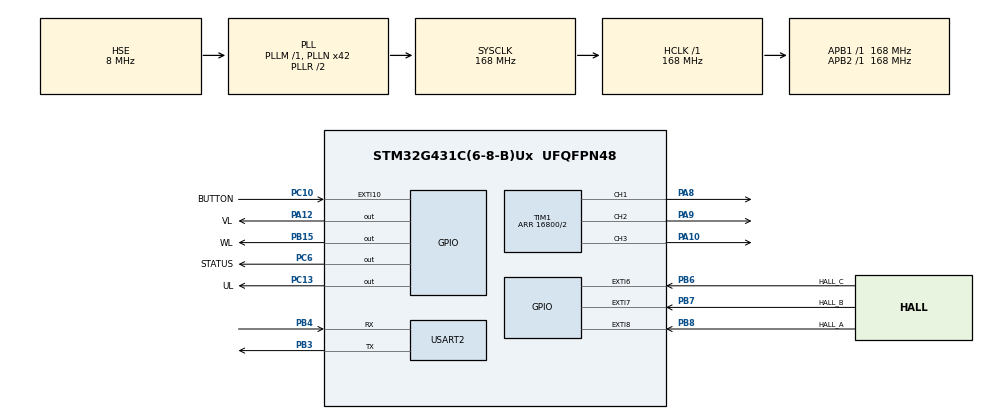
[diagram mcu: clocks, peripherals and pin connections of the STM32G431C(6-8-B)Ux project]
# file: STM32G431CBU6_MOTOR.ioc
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Mcu.Family=STM32G4
Mcu.Name=STM32G431C(6-8-B)Ux
Mcu.Package=UFQFPN48
NVIC.EXTI15_10_IRQn=true\:5\:0\:true\:false\:true\:true\:true\:true
NVIC.EXTI9_5_IRQn=true\:5\:0\:true\:false\:true\:true\:true\:true
NVIC.PriorityGroup=NVIC_PRIORITYGROUP_4
NVIC.USART2_IRQn=true\:0\:0\:false\:false\:true\:true\:true\:true
PA0.GPIO_Label=VBUS_ADC
PA0.Signal=ADC1_IN1
PA10.Signal=S_TIM1_CH3
PA12.GPIO_Label=VL
PA12.Signal=GPIO_Output
PA13.Mode=Serial_Wire
PA13.Signal=SYS_JTMS-SWDIO
PA14.Mode=Serial_Wire
PA14.Signal=SYS_JTCK-SWCLK
PA8.Signal=S_TIM1_CH1
PA9.Signal=S_TIM1_CH2
PB15.GPIO_Label=WL
PB15.Signal=GPIO_Output
PB3.Mode=Asynchronous
PB3.Signal=USART2_TX
PB4.Mode=Asynchronous
PB4.Signal=USART2_RX
PB6.GPIO_Label=HALL_C
PB6.GPIO_ModeDefaultEXTI=GPIO_MODE_IT_RISING_FALLING
PB6.Signal=GPXTI6
PB7.GPIO_Label=HALL_B
PB7.GPIO_ModeDefaultEXTI=GPIO_MODE_IT_RISING_FALLING
PB7.Signal=GPXTI7
PB8-BOOT0.GPIO_Label=HALL_A
PB8-BOOT0.GPIO_ModeDefaultEXTI=GPIO_MODE_IT_RISING_FALLING
PB8-BOOT0.Signal=GPXTI8
PC10.GPIO_Label=BUTTON
PC10.GPIO_ModeDefaultEXTI=GPIO_MODE_IT_FALLING
PC10.Signal=GPXTI10
PC13.GPIO_Label=UL
PC13.Signal=GPIO_Output
PC6.GPIO_Label=STATUS
PC6.Signal=GPIO_Output
PF0-OSC_IN.Mode=HSE-External-Oscillator
PF0-OSC_IN.Signal=RCC_OSC_IN
PF1-OSC_OUT.Mode=HSE-External-Oscillator
PF1-OSC_OUT.Signal=RCC_OSC_OUT
ProjectManager.HeapSize=0x200
ProjectManager.StackSize=0x400
ProjectManager.TargetToolchain=MDK-ARM V5.27
RCC.ADC12Freq_Value=168000000
RCC.AHBFreq_Value=168000000
RCC.APB1Freq_Value=168000000
RCC.APB1TimFreq_Value=168000000
RCC.APB2Freq_Value=168000000
RCC.APB2TimFreq_Value=168000000
RCC.CortexFreq_Value=168000000
RCC.EXTERNAL_CLOCK_VALUE=12288000
RCC.HCLKFreq_Value=168000000
RCC.HSE_VALUE=8000000
RCC.HSI48_VALUE=48000000
RCC.HSI_VALUE=16000000
RCC.LSE_VALUE=32768
RCC.PLLN=42
RCC.PLLSourceVirtual=RCC_PLLSOURCE_HSE
RCC.SYSCLKFreq_VALUE=168000000
RCC.SYSCLKSource=RCC_SYSCLKSOURCE_PLLCLK
RCC.USBFreq_Value=168000000
RCC.VCOOutputFreq_Value=336000000
SH.S_TIM1_CH1.0=TIM1_CH1,PWM Generation1 CH1
SH.S_TIM1_CH2.0=TIM1_CH2,PWM Generation2 CH2
SH.S_TIM1_CH3.0=TIM1_CH3,PWM Generation3 CH3
TIM1.AutoReloadPreload=TIM_AUTORELOAD_PRELOAD_ENABLE
TIM1.AutomaticOutput=TIM_AUTOMATICOUTPUT_ENABLE
TIM1.Channel-PWM\ Generation1\ CH1=TIM_CHANNEL_1
TIM1.Channel-PWM\ Generation2\ CH2=TIM_CHANNEL_2
TIM1.Channel-PWM\ Generation3\ CH3=TIM_CHANNEL_3
TIM1.CounterMode=TIM_COUNTERMODE_CENTERALIGNED1
TIM1.LockLevel=TIM_LOCKLEVEL_1
TIM1.OCMode_PWM-PWM\ Generation1\ CH1=TIM_OCMODE_PWM1
TIM1.OCMode_PWM-PWM\ Generation2\ CH2=TIM_OCMODE_PWM1
TIM1.OCMode_PWM-PWM\ Generation3\ CH3=TIM_OCMODE_PWM1
TIM1.OffStateIDLEMode=TIM_OSSI_ENABLE
TIM1.OffStateRunMode=TIM_OSSR_ENABLE
TIM1.PeriodNoDither=16800/2
TIM1.PulseNoDither_1=0
TIM1.PulseNoDither_2=0
TIM1.PulseNoDither_3=0
USART2.VirtualMode-Asynchronous=VM_ASYNC
VP_SYS_VS_DBSignals.Mode=DisableDeadBatterySignals
VP_TIM1_VS_ClockSourceINT.Mode=Internal
board=custom

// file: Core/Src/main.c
/* USER CODE BEGIN Header */
/**
  ******************************************************************************
  * @file           : main.c
  * @brief          : Main program body
  ******************************************************************************
  * @attention
  *
  * Copyright (c) 2026 STMicroelectronics.
  * All rights reserved.
  *
  * This software is licensed under terms that can be found in the LICENSE file
  * in the root directory of this software component.
  * If no LICENSE file comes with this software, it is provided AS-IS.
  *
  ******************************************************************************
  */
/* USER CODE END Header */
#include "main.h"
#include "tim.h"
#include "usart.h"
#include "gpio.h"

/* USER CODE BEGIN Includes */
#include "string.h"
#include "stdio.h"
#include "stdlib.h"
#include "motor_pwm.h"
#include "hall.h"
#include "rtt_log.h"
#include "motor_control.h"
/* USER CODE END Includes */

/* USER CODE BEGIN PV */
uint8_t aRxBuffer;
uint8_t Uart1_RxBuff[256];
uint8_t Uart1_Rx_Cnt=0;
uint8_t cAlmStr[]="more than 256\r\n";
/* USER CODE END PV */

void SystemClock_Config(void);

int main(void)
{

  /* MCU Configuration--------------------------------------------------------*/

  /* Reset of all peripherals, Initializes the Flash interface and the Systick. */
  HAL_Init();

  /* Configure the system clock */
  SystemClock_Config();

  /* Initialize all configured peripherals */
  MX_GPIO_Init();
  MX_TIM1_Init();
  MX_USART2_UART_Init();
  /* USER CODE BEGIN 2 */
  MotorPwm_Init();
  RTT_Log_Init();
  Hall_Init();
  MotorControl_Init();
  HAL_UART_Receive_IT(&huart2,(uint8_t *)&aRxBuffer,1);
  /* USER CODE END 2 */

  /* Infinite loop */
  /* USER CODE BEGIN WHILE */
  while (1)
  {
    MotorControl_Process();
    /* USER CODE END WHILE */

  }
}

void SystemClock_Config(void)
{
  RCC_OscInitTypeDef RCC_OscInitStruct = {0};
  RCC_ClkInitTypeDef RCC_ClkInitStruct = {0};

  /** Configure the main internal regulator output voltage
  */
  HAL_PWREx_ControlVoltageScaling(PWR_REGULATOR_VOLTAGE_SCALE1_BOOST);

  /** Initializes the RCC Oscillators according to the specified parameters
  * in the RCC_OscInitTypeDef structure.
  */
  RCC_OscInitStruct.OscillatorType = RCC_OSCILLATORTYPE_HSE;
  RCC_OscInitStruct.HSEState = RCC_HSE_ON;
  RCC_OscInitStruct.PLL.PLLState = RCC_PLL_ON;
  RCC_OscInitStruct.PLL.PLLSource = RCC_PLLSOURCE_HSE;
  RCC_OscInitStruct.PLL.PLLM = RCC_PLLM_DIV1;
  RCC_OscInitStruct.PLL.PLLN = 42;
  RCC_OscInitStruct.PLL.PLLP = RCC_PLLP_DIV2;
  RCC_OscInitStruct.PLL.PLLQ = RCC_PLLQ_DIV2;
  RCC_OscInitStruct.PLL.PLLR = RCC_PLLR_DIV2;
  if (HAL_RCC_OscConfig(&RCC_OscInitStruct) != HAL_OK)
  {
    Error_Handler();
  }

  /** Initializes the CPU, AHB and APB buses clocks
  */
  RCC_ClkInitStruct.ClockType = RCC_CLOCKTYPE_HCLK|RCC_CLOCKTYPE_SYSCLK
                              |RCC_CLOCKTYPE_PCLK1|RCC_CLOCKTYPE_PCLK2;
  RCC_ClkInitStruct.SYSCLKSource = RCC_SYSCLKSOURCE_PLLCLK;
  RCC_ClkInitStruct.AHBCLKDivider = RCC_SYSCLK_DIV1;
  RCC_ClkInitStruct.APB1CLKDivider = RCC_HCLK_DIV1;
  RCC_ClkInitStruct.APB2CLKDivider = RCC_HCLK_DIV1;

  if (HAL_RCC_ClockConfig(&RCC_ClkInitStruct, FLASH_LATENCY_4) != HAL_OK)
  {
    Error_Handler();
  }
}

/* USER CODE BEGIN 4 */
/**
  * @brief  ????????
  * @param  GPIO_Pin: ????????
  * @retval None
  */
void HAL_GPIO_EXTI_Callback(uint16_t GPIO_Pin)
{
  Hall_OnEdge(GPIO_Pin);
  /* ?????????????? */
  if (GPIO_Pin == BUTTON_Pin)
  {
    /* ????????? */
    static uint32_t last_press_time = 0;
    uint32_t current_time = HAL_GetTick();

    /* ????:50ms */
    if ((current_time - last_press_time) > 50)
    {
      MotorControl_Toggle();

      /* ??:?????? */
      // if (HAL_GPIO_ReadPin(LD2_GPIO_Port, LD2_Pin) == GPIO_PIN_SET)
      //     printf("LED??: ?\n");
      // else
      //     printf("LED??: ?\n");

      last_press_time = current_time;
    }
  }
}

/* USER CODE END 4 */

void Error_Handler(void)
{
  __disable_irq();
  while (1)
  {
  }
}
